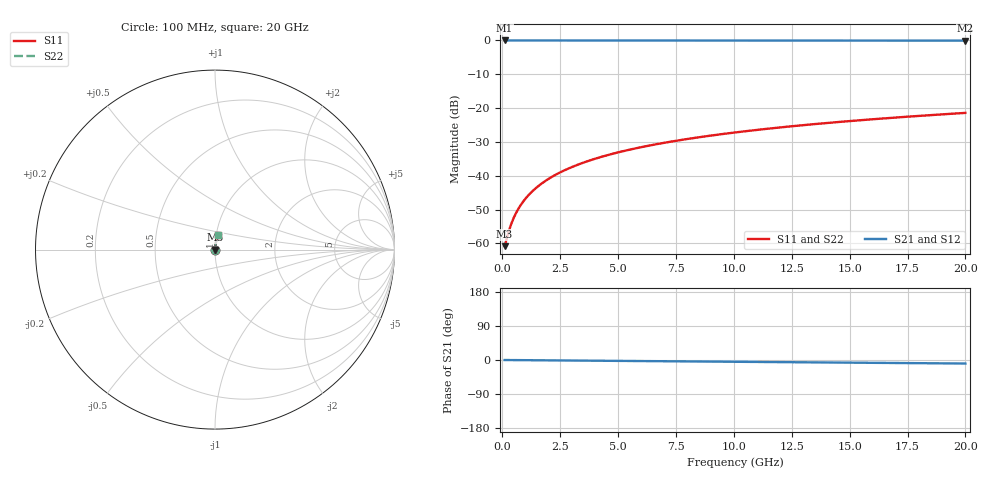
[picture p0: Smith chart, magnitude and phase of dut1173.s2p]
! Touchstone file exported from HFSS 2026.1.0
!  File:  C:/ffzhzh/LocalFiles/Ansys_Project_Files/temp_train_TSV_1173_1783192047_18472.aedt
!  Generated:  03:09:42 AM Jul  5, 2026
!  Design:  TSV
!  Project:  temp_train_TSV_1173_1783192047_18472
! Variables:
!  h_bsmrdl = 2um
!  h_ox = 20um
!  h_rdl = 5um
!  h_sub = 79.2um
!  h_tmrdl = 5um
!  h_tsv = 79.2um
!  h_via = 3um
!  l_bsmrdl = 300um
!  l_sub = 406.92um
!  l_tmrdl = 200um
!  m_sub = 200um
!  pitch = 35.47um
!  r_tsv = 3.46um
!  s_tmrdl = 10um
!  w_bsmrdl = 18um
!  w_sub = 500um
!  w_tmrdl = 12um
!  x_tsv_center1 = 206um
!  x_tsv_center2 = 524um
!  x_tsv_center3 = 736um
!  x_tsv_center4 = 1054um
!  x_tsv_center5 = 1266um
!  x_tsv_center6 = 1584um
# GHz S MA R 50.000000
! Terminal data exported
! Port[1] = TSV1_1_T1
! Port[2] = TSV1_1_T2
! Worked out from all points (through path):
!   200 points, 100 MHz to 20 GHz, reference 50 ohm
!   highest |S21| = -0.01 dB at 100 MHz (marker M1); lowest = -0.1 dB at 20 GHz (marker M2)
!   group delay of S21, straight-line fit = 1.29 ps
!   lowest |S11| = -60.8 dB at 100 MHz (marker M3), VSWR 1.00, Z = 50.1 + j0.0462 ohm
!   |S11| at or under -10 dB: start of sweep to end of sweep
!   |S22| runs from -60.8 to -21.4 dB; largest |S21 - S12| = 3e-15
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0.1  0.0009091 30.5  0.9992 -0.0  0.9992 -0.0  0.0009091 30.5
! Gamma 0 0 0 0
! Port Impedance 50 0 50 0
0.3  0.00159 59.5  0.9992 -0.1  0.9992 -0.1  0.00159 59.5
0.4  0.001994 65.7  0.9992 -0.2  0.9992 -0.2  0.001994 65.7
0.5  0.002412 69.8  0.9992 -0.2  0.9992 -0.2  0.002412 69.8
0.6  0.002838 72.7  0.9992 -0.3  0.9992 -0.3  0.002838 72.7
0.8  0.003703 76.5  0.9991 -0.4  0.9991 -0.4  0.003703 76.5
1  0.004578 78.7  0.9991 -0.5  0.9991 -0.5  0.004578 78.7
1.2  0.005459 80.2  0.9991 -0.6  0.9991 -0.6  0.005459 80.2
1.4  0.006342 81.3  0.9991 -0.7  0.9991 -0.7  0.006342 81.3
1.7  0.007669 82.4  0.9991 -0.8  0.9991 -0.8  0.007669 82.4
2.2  0.009882 83.4  0.999 -1.0  0.999 -1.0  0.009882 83.4
2.8  0.01253 83.9  0.9989 -1.3  0.9989 -1.3  0.01253 83.9
3.5  0.01561 84.2  0.9987 -1.7  0.9987 -1.7  0.01561 84.2
4.2  0.01866 84.2  0.9986 -2.0  0.9986 -2.0  0.01866 84.2
5  0.02213 84.1  0.9984 -2.4  0.9984 -2.4  0.02213 84.1
5.9  0.02601 83.9  0.9982 -2.8  0.9982 -2.8  0.02601 83.9
6.8  0.02986 83.6  0.9979 -3.2  0.9979 -3.2  0.02986 83.6
8.3  0.03623 83.2  0.9975 -3.9  0.9975 -3.9  0.03623 83.2
10.1  0.04381 82.5  0.997 -4.7  0.997 -4.7  0.04381 82.5
13.4  0.0576 81.3  0.9959 -6.3  0.9959 -6.3  0.0576 81.3
16.7  0.07129 80.1  0.9948 -7.8  0.9948 -7.8  0.07129 80.1
20  0.08486 78.7  0.9934 -9.3  0.9934 -9.3  0.08486 78.7
